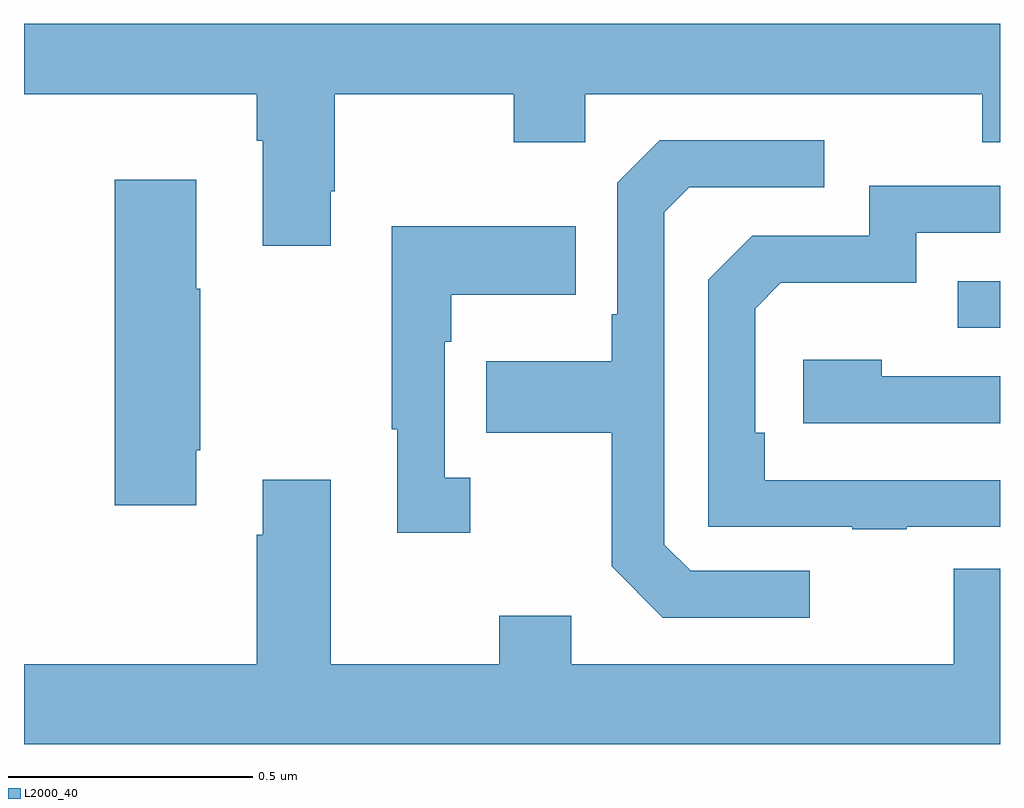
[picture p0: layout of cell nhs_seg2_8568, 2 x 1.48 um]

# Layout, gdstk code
import gdstk
lib = gdstk.Library(unit=1e-6, precision=1e-09)
def R(c, l, rs):  # rectangles x0, y0, x1, y1
    for r in rs: c.add(gdstk.rectangle(r[:2], r[2:], *l))
def P(c, l, *ps):  # polygons
    for p in ps: c.add(gdstk.Polygon(p, *l))
L2000_40 = (2000, 40)

nhs_seg2_8568 = lib.new_cell('nhs_seg2_8568')
R(nhs_seg2_8568, L2000_40, [(219.913,627.177,220,627.273)])
P(nhs_seg2_8568, L2000_40, [(218.629,627.457),(218.637,627.457),(218.637,627.656),(219.004,627.656),(219.004,627.557),(219.15,627.557),(219.15,627.656),(219.964,627.656),(219.964,627.557),(220,627.557),(220,627.8),(218,627.8),(218,627.656),(218.477,627.656),(218.477,627.56),(218.489,627.56),(218.489,627.345),(218.629,627.345)],
  [(219.61,626.679),(219.366,626.679),(219.312,626.733),(219.312,627.414),(219.363,627.465),(219.64,627.465),(219.64,627.561),(219.303,627.561),(219.216,627.474),(219.216,627.205),(219.204,627.205),(219.204,627.109),(218.947,627.109),(218.947,626.962),(219.204,626.962),(219.204,626.689),(219.309,626.583),(219.61,626.583)],
  [(218.353,626.926),(218.361,626.926),(218.361,627.257),(218.353,627.257),(218.353,627.481),(218.186,627.481),(218.186,626.814),(218.353,626.814)],
  [(219.809,626.769),(220,626.769),(220,626.865),(219.518,626.865),(219.518,626.962),(219.498,626.962),(219.498,627.216),(219.551,627.269),(219.828,627.269),(219.828,627.372),(220,627.372),(220,627.468),(219.732,627.468),(219.732,627.366),(219.492,627.366),(219.402,627.276),(219.402,626.769),(219.697,626.769),(219.697,626.764),(219.809,626.764)],
  [(218.914,626.87),(218.862,626.87),(218.862,627.149),(218.875,627.149),(218.875,627.245),(219.131,627.245),(219.131,627.385),(218.754,627.385),(218.754,626.969),(218.765,626.969),(218.765,626.757),(218.914,626.757)],
  [(220,627.078),(219.758,627.078),(219.758,627.112),(219.597,627.112),(219.597,626.982),(220,626.982)],
  [(220,626.683),(219.905,626.683),(219.905,626.488),(219.121,626.488),(219.121,626.587),(218.974,626.587),(218.974,626.488),(218.629,626.488),(218.629,626.866),(218.489,626.866),(218.489,626.753),(218.477,626.753),(218.477,626.488),(218,626.488),(218,626.324),(220,626.324)])

lib.write_gds('nhs_seg2_8568.gds')
